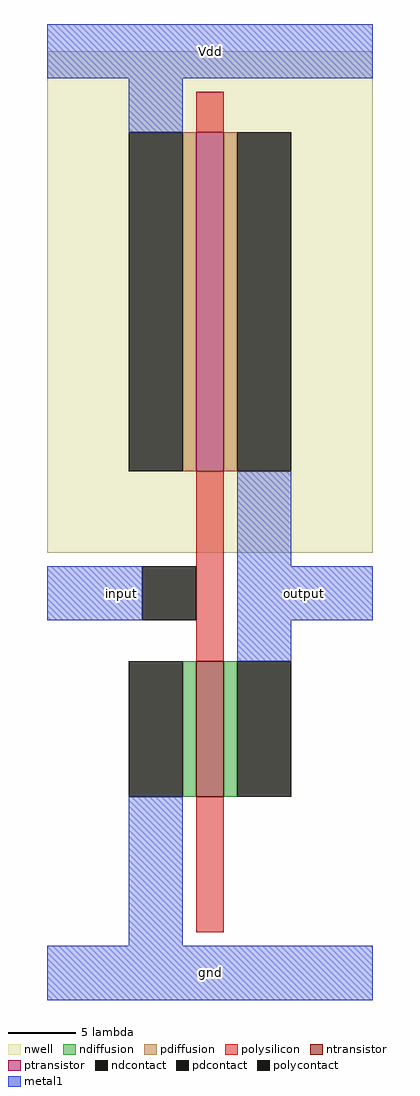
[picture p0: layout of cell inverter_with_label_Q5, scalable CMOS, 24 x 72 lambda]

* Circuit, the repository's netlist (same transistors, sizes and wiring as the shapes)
* SPICE3 file created from inverter_with_label_Q5.ext - technology: scmos

.option scale=0.09u

M1000 output input Vdd w_0_0# pfet w=25 l=2
+  ad=125 pd=60 as=125 ps=60
M1001 output input gnd Gnd nfet w=10 l=2
+  ad=50 pd=30 as=50 ps=30

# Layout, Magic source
magic
tech scmos
<< nwell >>
rect 0 0 24 37
<< ntransistor >>
rect 11 -18 13 -8
<< ptransistor >>
rect 11 6 13 31
<< ndiffusion >>
rect 10 -18 11 -8
rect 13 -18 14 -8
<< pdiffusion >>
rect 10 6 11 31
rect 13 6 14 31
<< ndcontact >>
rect 6 -18 10 -8
rect 14 -18 18 -8
<< pdcontact >>
rect 6 6 10 31
rect 14 6 18 31
<< polysilicon >>
rect 11 31 13 34
rect 11 -8 13 6
rect 11 -28 13 -18
<< polycontact >>
rect 7 -5 11 -1
<< metal1 >>
rect 0 35 24 39
rect 6 31 10 35
rect 14 -1 18 6
rect 0 -5 7 -1
rect 14 -5 24 -1
rect 14 -8 18 -5
rect 6 -29 10 -18
rect 0 -33 24 -29
<< labels >>
rlabel metal1 0 35 24 39 5 Vdd
rlabel metal1 0 -5 11 -1 3 input
rlabel metal1 14 -5 24 -1 7 output
rlabel metal1 0 -33 24 -29 1 gnd
<< end >>
